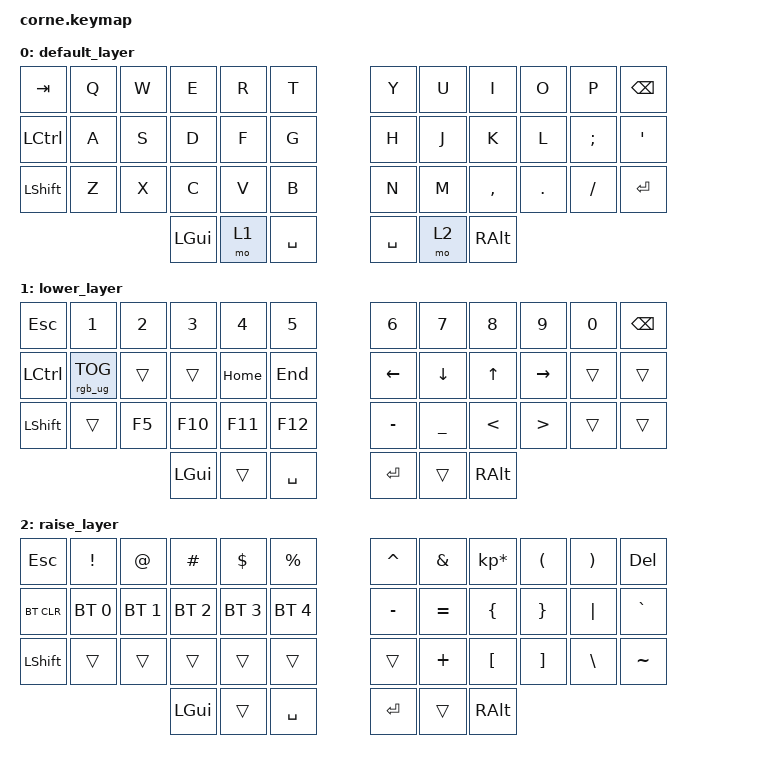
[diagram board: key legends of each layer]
/*
 * Copyright (c) 2020 The ZMK Contributors
 *
 * SPDX-License-Identifier: MIT
 */

#include <behaviors.dtsi>
#include <dt-bindings/zmk/keys.h>
#include <dt-bindings/zmk/bt.h>
#include <dt-bindings/zmk/rgb.h>

/ {
        keymap {
                compatible = "zmk,keymap";

                default_layer {
// -----------------------------------------------------------------------------------------
// |  TAB |  Q  |  W  |  E  |  R  |  T  |   |  Y  |  U   |  I  |  O  |  P  | BKSP |
// | CTRL |  A  |  S  |  D  |  F  |  G  |   |  H  |  J   |  K  |  L  |  ;  |  '   |
// | SHFT |  Z  |  X  |  C  |  V  |  B  |   |  N  |  M   |  ,  |  .  |  /  | SHFT |
//                    | GUI | LWR | SPC |   | ENT | RSE  | ALT |
                        bindings = <
   &kp TAB   &kp Q &kp W &kp E &kp R &kp T   &kp Y &kp U  &kp I     &kp O   &kp P    &kp BSPC
   &kp LCTRL &kp A &kp S &kp D &kp F &kp G   &kp H &kp J  &kp K     &kp L   &kp SEMI &kp SQT
   &kp LSHFT &kp Z &kp X &kp C &kp V &kp B   &kp N &kp M  &kp COMMA &kp DOT &kp FSLH &kp RET
                  &kp LGUI &mo 1 &kp SPACE   &kp SPACE &mo 2 &kp RALT
                        >;
                };
                lower_layer {
// -----------------------------------------------------------------------------------------
// |  ESC |  1  |  2  |  3  |  4  |  5  |   |  6  |  7  |  8  |  9  |  0  | BKSP |
// | BTCLR| BT1 | BT2 | BT3 | BT4 | BT5 |   | LFT | DWN |  UP | RGT |     |      |
// | SHFT |     |     |     |     |     |   |     |     |     |     |     |      |
//                    | GUI |     | SPC |   | ENT |     | ALT |
                        bindings = <
   &kp ESC    &kp N1       &kp N2       &kp N3       &kp N4       &kp N5            &kp N6   &kp N7   &kp N8 &kp N9    &kp N0 &kp BSPC
   &kp LCTRL &rgb_ug RGB_TOG    &trans  &trans    &kp HOME    &kp END      &kp LEFT &kp DOWN &kp UP &kp RIGHT &trans &trans
   &kp LSHFT  &trans       &kp F5       &kp F10       &kp F11       &kp F12            &kp MINUS   &kp UNDERSCORE   &kp LESS_THAN &kp GREATER_THAN    &trans &trans
                                        &kp LGUI     &trans       &kp SPACE         &kp RET &trans &kp RALT
                        >;
                };

                raise_layer {
// -----------------------------------------------------------------------------------------
// |  ESC |  !  |  @  |  #  |  $  |  %  |   |  ^  |  &  |  *  |  (  |  )  | BKSP |
// | CTRL |     |     |     |     |     |   |  -  |  =  |  {  |  }  | "|" |  `   |
// | SHFT |     |     |     |     |     |   |  _  |  +  |  [  |  ]  |  \  |  ~   | // TODO: Fix this row when &mkp is committed
//                    | GUI |     | SPC |   | ENT |     | ALT |
                        bindings = <
   &kp  ESC  &kp EXCL  &kp AT  &kp HASH  &kp DLLR  &kp PRCNT   &kp CARET &kp AMPS  &kp KP_MULTIPLY &kp LPAR &kp RPAR &kp DEL
   &bt BT_CLR &bt BT_SEL 0 &bt BT_SEL 1 &bt BT_SEL 2 &bt BT_SEL 3 &bt BT_SEL 4      &kp MINUS &kp EQUAL &kp LBRC        &kp RBRC &kp PIPE &kp GRAVE
   &kp LSHFT &trans    &trans  &trans    &trans    &trans      &trans    &kp PLUS    &kp LBKT  &kp RBKT   &kp BSLH &kp TILDE
                                   &kp LGUI &trans &kp SPACE   &kp RET &trans &kp RALT
                        >;
                };
        };
};
